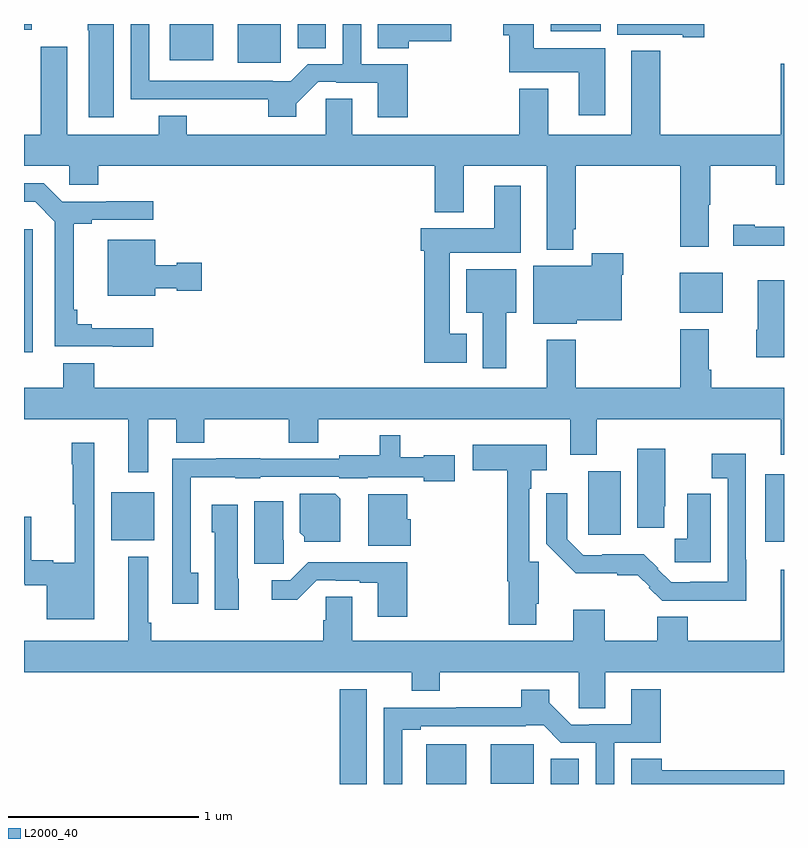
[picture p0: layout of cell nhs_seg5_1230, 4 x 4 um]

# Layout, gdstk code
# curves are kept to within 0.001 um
import gdstk
lib = gdstk.Library(unit=1e-6, precision=1e-09)
def R(c, l, rs):  # rectangles x0, y0, x1, y1
    for r in rs: c.add(gdstk.rectangle(r[:2], r[2:], *l))
def P(c, l, *ps):  # polygons
    for p in ps: c.add(gdstk.Polygon(p, *l))
L2000_40 = (2000, 40)

nhs_seg5_1230 = lib.new_cell('nhs_seg5_1230')
R(nhs_seg5_1230, L2000_40, [(186.662,894.799,186.805,895.297), (187.118,894.799,187.327,895.009), (187.772,894.799,187.921,894.932), (187.457,894.8,187.684,895.009), (188.9,896.075,189,896.428), (185.459,896.081,185.686,896.335), (187.97,896.112,188.14,896.446), (185,897.072,185.046,897.719), (188.45,897.278,188.677,897.49), (186.125,898.595,186.352,898.799), (185.768,898.607,185.995,898.799), (186.44,898.672,186.589,898.799), (187.772,898.76,188.035,898.799), (185,898.77,185.041,898.799)])
P(nhs_seg5_1230, L2000_40, [(187.024,898.709),(187.249,898.709),(187.249,898.799),(186.863,898.799),(186.863,898.672),(187.024,898.672)],
  [(187.019,898.587),(186.774,898.587),(186.774,898.799),(186.678,898.799),(186.678,898.587),(186.494,898.587),(186.404,898.497),(186.308,898.497),(186.308,898.5),(185.658,898.5),(185.658,898.799),(185.562,898.799),(185.562,898.404),(186.286,898.403),(186.286,898.31),(186.433,898.31),(186.433,898.378),(186.549,898.494),(186.643,898.494),(186.643,898.491),(186.863,898.491),(186.863,898.308),(187.019,898.308)],
  [(185.473,898.799),(185.335,898.799),(185.335,898.765),(185.342,898.765),(185.342,898.308),(185.473,898.308)],
  [(188.581,898.799),(188.123,898.799),(188.123,898.742),(188.468,898.742),(188.468,898.73),(188.581,898.73)],
  [(188.059,898.672),(187.684,898.672),(187.684,898.799),(187.523,898.799),(187.523,898.739),(187.555,898.739),(187.555,898.544),(187.919,898.544),(187.919,898.32),(188.059,898.32)],
  [(185.227,898.678),(185.087,898.678),(185.087,898.216),(185,898.216),(185,898.052),(185.238,898.052),(185.238,897.954),(185.39,897.954),(185.39,898.052),(187.163,898.052),(187.163,897.809),(187.315,897.809),(187.315,898.052),(187.751,898.052),(187.751,897.611),(187.891,897.611),(187.891,897.718),(187.904,897.718),(187.904,898.052),(188.453,898.052),(188.453,897.627),(188.605,897.627),(188.605,897.848),(188.613,897.848),(188.613,898.052),(188.956,898.052),(188.956,897.953),(189,897.953),(189,898.591),(188.984,898.591),(188.984,898.216),(188.348,898.216),(188.348,898.657),(188.195,898.657),(188.195,898.216),(187.759,898.216),(187.759,898.459),(187.607,898.459),(187.607,898.216),(186.727,898.216),(186.727,898.406),(186.588,898.406),(186.588,898.216),(185.856,898.216),(185.856,898.315),(185.708,898.315),(185.708,898.216),(185.227,898.216)],
  [(185.68,897.199),(185.356,897.199),(185.356,897.218),(185.279,897.218),(185.279,897.295),(185.261,897.295),(185.261,897.748),(185.356,897.748),(185.356,897.768),(185.68,897.768),(185.68,897.866),(185.433,897.866),(185.433,897.864),(185.2,897.864),(185.104,897.96),(185,897.96),(185,897.863),(185.059,897.863),(185.163,897.759),(185.163,897.102),(185.68,897.101)],
  [(187.33,897.169),(187.24,897.169),(187.24,897.596),(187.615,897.596),(187.615,897.949),(187.475,897.949),(187.475,897.724),(187.088,897.724),(187.088,897.606),(187.106,897.606),(187.106,897.017),(187.33,897.017)],
  [(189,897.732),(188.845,897.732),(188.845,897.742),(188.733,897.742),(188.733,897.632),(189,897.632)],
  [(185.692,897.407),(185.805,897.407),(185.805,897.395),(185.935,897.395),(185.935,897.542),(185.805,897.542),(185.805,897.529),(185.692,897.529),(185.692,897.664),(185.441,897.664),(185.441,897.368),(185.692,897.368)],
  [(187.908,897.239),(188.146,897.239),(188.146,897.479),(188.154,897.479),(188.154,897.592),(187.988,897.592),(187.988,897.526),(187.679,897.526),(187.679,897.221),(187.908,897.221)],
  [(187.537,897.278),(187.591,897.278),(187.591,897.508),(187.328,897.508),(187.328,897.278),(187.415,897.278),(187.415,896.988),(187.537,896.988)],
  [(189,897.451),(188.861,897.451),(188.861,897.189),(188.855,897.189),(188.855,897.045),(189,897.045)],
  [(185.653,896.72),(185.801,896.72),(185.801,896.596),(185.949,896.596),(185.949,896.72),(186.394,896.72),(186.394,896.596),(186.549,896.596),(186.549,896.72),(187.874,896.72),(187.874,896.531),(188.014,896.531),(188.014,896.72),(188.984,896.72),(188.984,896.532),(189,896.532),(189,896.884),(188.618,896.884),(188.618,896.98),(188.605,896.98),(188.605,897.193),(188.453,897.193),(188.453,896.884),(187.904,896.884),(187.904,897.136),(187.751,897.136),(187.751,896.884),(185.371,896.884),(185.371,897.013),(185.207,897.013),(185.207,896.884),(185,896.884),(185,896.72),(185.549,896.72),(185.549,896.439),(185.653,896.439)],
  [(185.917,895.91),(185.877,895.91),(185.877,896.414),(186.111,896.414),(186.111,896.408),(186.243,896.408),(186.243,896.415),(186.66,896.415),(186.66,896.408),(186.81,896.408),(186.81,896.414),(187.104,896.414),(187.104,896.393),(187.267,896.393),(187.267,896.53),(187.104,896.53),(187.104,896.519),(186.981,896.519),(186.981,896.635),(186.873,896.635),(186.873,896.53),(186.66,896.53),(186.66,896.511),(186.243,896.511),(186.243,896.513),(186.011,896.513),(186.011,896.511),(185.781,896.511),(185.781,895.749),(185.917,895.749)],
  [(185.371,896.596),(185.25,896.596),(185.25,896.483),(185.257,896.483),(185.257,896.271),(185.267,896.271),(185.267,895.963),(185.153,895.963),(185.153,895.976),(185.038,895.976),(185.038,896.206),(185,896.206),(185,895.853),(185.004,895.853),(185.004,895.846),(185.12,895.846),(185.12,895.667),(185.371,895.667)],
  [(187.696,895.747),(187.709,895.747),(187.709,895.968),(187.659,895.968),(187.659,896.354),(187.671,896.354),(187.671,896.45),(187.75,896.45),(187.75,896.584),(187.362,896.584),(187.362,896.45),(187.543,896.45),(187.543,895.865),(187.55,895.865),(187.55,895.637),(187.696,895.637)],
  [(188.37,896.26),(188.374,896.26),(188.374,896.563),(188.228,896.563),(188.228,896.149),(188.37,896.149)],
  [(188.801,895.979),(188.799,895.979),(188.799,896.536),(188.62,896.536),(188.62,896.408),(188.703,896.408),(188.703,895.864),(188.506,895.864),(188.506,895.86),(188.406,895.86),(188.334,895.932),(188.337,895.935),(188.263,896.009),(188.044,896.009),(188.044,896.004),(187.944,896.004),(187.86,896.088),(187.86,896.329),(187.748,896.329),(187.748,896.064),(187.903,895.907),(188.123,895.907),(188.123,895.899),(188.231,895.899),(188.293,895.837),(188.289,895.833),(188.359,895.763),(188.801,895.763)],
  [(188.614,896.327),(188.492,896.327),(188.492,896.089),(188.425,896.089),(188.425,895.966),(188.614,895.966)],
  [(186.664,896.3),(186.638,896.326),(186.452,896.326),(186.452,896.122),(186.474,896.1),(186.474,896.075),(186.664,896.075)],
  [(187.036,896.193),(187.018,896.193),(187.018,896.324),(186.812,896.324),(186.812,896.054),(187.036,896.054)],
  [(186.368,896.082),(186.364,896.082),(186.364,896.287),(186.212,896.287),(186.212,895.959),(186.368,895.959)],
  [(186.13,895.878),(186.124,895.878),(186.124,896.269),(185.987,896.269),(185.987,896.124),(186.005,896.124),(186.005,895.716),(186.13,895.716)],
  [(188.059,895.388),(189,895.388),(189,895.927),(188.984,895.927),(188.984,895.552),(188.494,895.552),(188.494,895.678),(188.333,895.678),(188.333,895.552),(188.056,895.552),(188.056,895.717),(187.892,895.717),(187.892,895.552),(186.727,895.552),(186.727,895.784),(186.588,895.784),(186.588,895.662),(186.575,895.662),(186.575,895.552),(185.671,895.552),(185.671,895.648),(185.653,895.648),(185.653,895.996),(185.549,895.996),(185.549,895.552),(185,895.552),(185,895.388),(187.04,895.388),(187.04,895.289),(187.188,895.289),(187.188,895.388),(187.92,895.388),(187.92,895.198),(188.059,895.198)],
  [(187.016,895.966),(186.496,895.966),(186.402,895.872),(186.303,895.872),(186.303,895.77),(186.438,895.77),(186.54,895.872),(186.64,895.872),(186.64,895.869),(186.767,895.869),(186.767,895.857),(186.863,895.857),(186.863,895.68),(187.016,895.68)],
  [(186.99,895.084),(187.087,895.084),(187.087,895.104),(187.64,895.104),(187.64,895.107),(187.736,895.107),(187.826,895.017),(188.01,895.017),(188.01,894.799),(188.106,894.799),(188.106,895.017),(188.351,895.017),(188.351,895.297),(188.195,895.297),(188.195,895.113),(187.975,895.113),(187.975,895.11),(187.881,895.11),(187.765,895.226),(187.765,895.294),(187.618,895.294),(187.618,895.202),(187.276,895.202),(187.276,895.2),(186.894,895.2),(186.894,894.799),(186.99,894.799)],
  [(189,894.872),(188.356,894.872),(188.356,894.932),(188.195,894.932),(188.195,894.799),(189,894.799)])

lib.write_gds('nhs_seg5_1230.gds')
